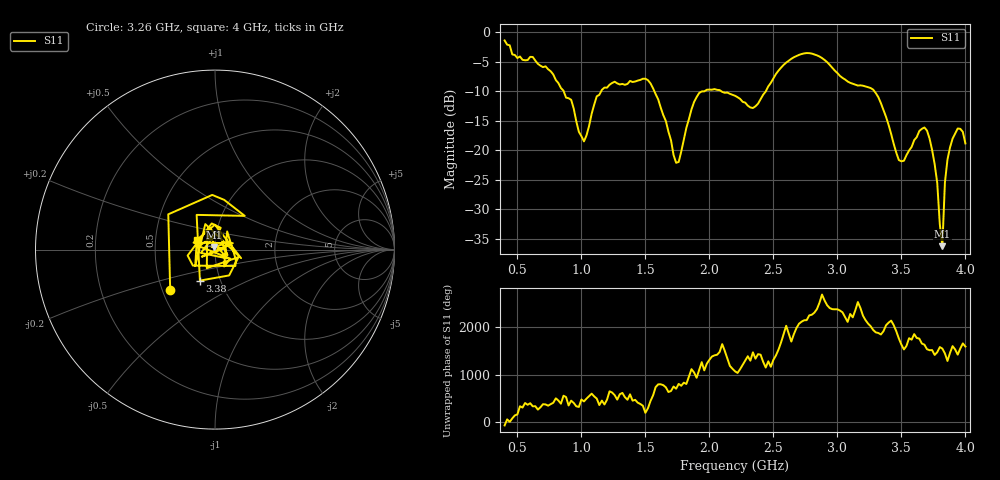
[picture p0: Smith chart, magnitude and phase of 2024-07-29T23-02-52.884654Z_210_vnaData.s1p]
!Created with skrf (http://scikit-rf.org).
# Hz S RI R 50.0
!freq ReS11 ImS11
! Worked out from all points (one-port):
!   181 points, 400 MHz to 4 GHz, reference 50 ohm
!   lowest |S11| = -36.3 dB at 3.82 GHz (marker M1), VSWR 1.03, Z = 49.5 + j1.43 ohm
!   |S11| at or under -10 dB: 1.57 GHz to 1.961 GHz (390.3 MHz wide, 22.1 % of centre); 2.093 GHz to 2.441 GHz (347.4 MHz wide, 15.3 % of centre); 3.289 GHz to end of sweep (the widest 3 of 4)
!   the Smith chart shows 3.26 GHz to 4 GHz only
!   S11 on the Smith chart (normalised r, x): 3.26 GHz: 0.55, -0.28; 3.38 GHz: 0.80, -0.29; 4 GHz: 0.81, +0.09
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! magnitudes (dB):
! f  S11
! 400 MHz  -1.4
! 720 MHz  -5.8
! 860 MHz  -9.9
! 920 MHz  -11.4
! 1.02 GHz  -18.5
! 1.12 GHz  -10.9
! 1.3 GHz  -8.8
! 1.54 GHz  -8.7
! 1.76 GHz  -22.0
! 1.86 GHz  -13.1
! 1.92 GHz  -10.3
! 2.2 GHz  -10.8
! 2.34 GHz  -12.8
! 2.66 GHz  -4.2
! 2.84 GHz  -3.9
! 3.1 GHz  -8.6
! 3.26 GHz  -9.5
! 3.38 GHz  -14.3
! 3.48 GHz  -21.7
! 3.56 GHz  -20.0
! 3.7 GHz  -16.7
! 3.78 GHz  -25.5
! 3.8 GHz  -32.5
! 3.82 GHz  -36.3
! 3.84 GHz  -25.5
! 3.88 GHz  -19.5
! 3.94 GHz  -16.3
! 4 GHz  -18.8
